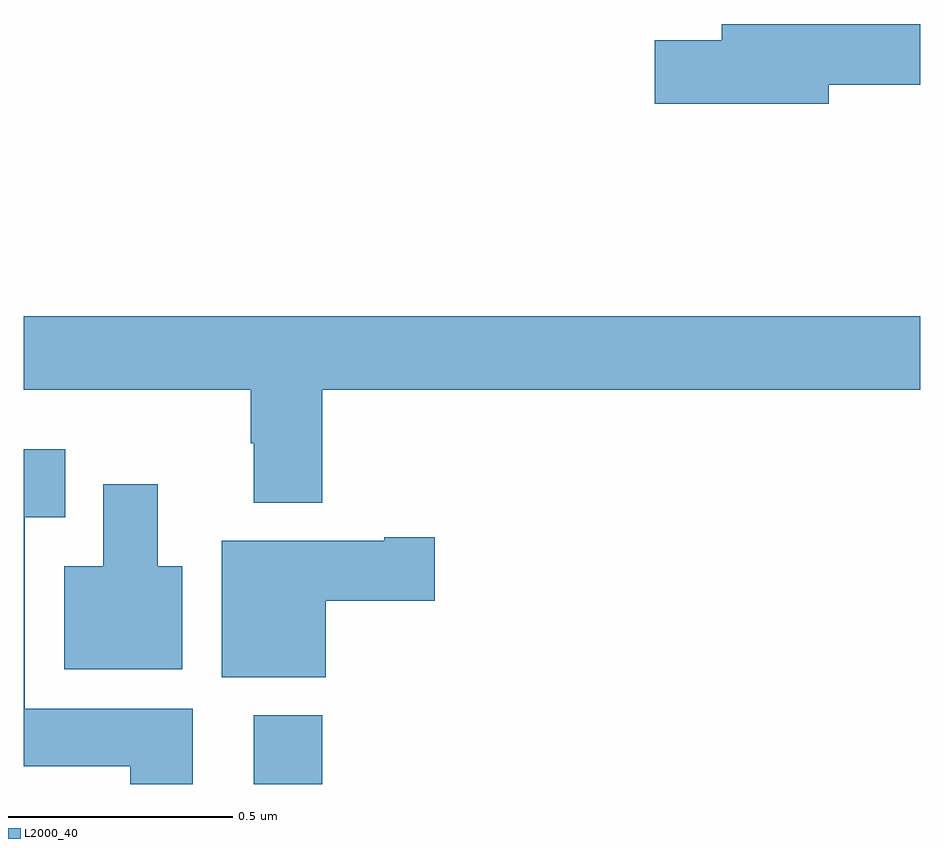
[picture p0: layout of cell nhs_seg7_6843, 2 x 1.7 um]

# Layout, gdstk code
import gdstk
lib = gdstk.Library(unit=1e-6, precision=1e-09)
def R(c, l, rs):  # rectangles x0, y0, x1, y1
    for r in rs: c.add(gdstk.rectangle(r[:2], r[2:], *l))
def P(c, l, *ps):  # polygons
    for p in ps: c.add(gdstk.Polygon(p, *l))
L2000_40 = (2000, 40)

nhs_seg7_6843 = lib.new_cell('nhs_seg7_6843')
R(nhs_seg7_6843, L2000_40, [(203.513,1069,203.666,1069.153)])
P(nhs_seg7_6843, L2000_40, [(204.796,1070.56),(205,1070.56),(205,1070.696),(204.557,1070.696),(204.557,1070.66),(204.408,1070.66),(204.408,1070.518),(204.796,1070.518)],
  [(203.666,1069.88),(205,1069.88),(205,1070.044),(203,1070.044),(203,1069.88),(203.506,1069.88),(203.506,1069.76),(203.513,1069.76),(203.513,1069.628),(203.666,1069.628)],
  [(203.377,1069.168),(203.002,1069.168),(203.002,1069.595),(203.092,1069.595),(203.092,1069.747),(203,1069.747),(203,1069.04),(203.237,1069.04),(203.237,1069),(203.377,1069)],
  [(203.353,1069.486),(203.299,1069.486),(203.299,1069.669),(203.177,1069.669),(203.177,1069.486),(203.09,1069.486),(203.09,1069.256),(203.353,1069.256)],
  [(203.674,1069.409),(203.917,1069.409),(203.917,1069.551),(203.804,1069.551),(203.804,1069.543),(203.441,1069.543),(203.441,1069.238),(203.674,1069.238)])

lib.write_gds('nhs_seg7_6843.gds')
